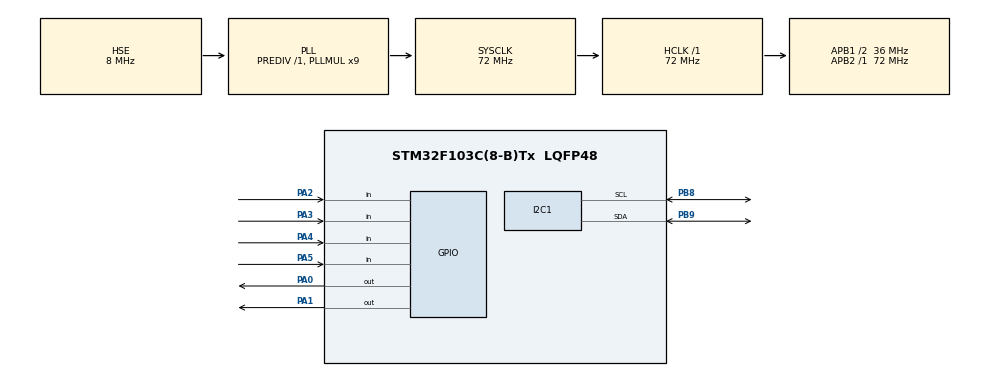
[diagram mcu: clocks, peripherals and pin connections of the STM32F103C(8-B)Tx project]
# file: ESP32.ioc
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I2C1.I2C_Mode=I2C_Fast
Mcu.Family=STM32F1
Mcu.Name=STM32F103C(8-B)Tx
Mcu.Package=LQFP48
NVIC.PriorityGroup=NVIC_PRIORITYGROUP_4
PA0-WKUP.Signal=GPIO_Output
PA1.Signal=GPIO_Output
PA13.Mode=Serial_Wire
PA13.Signal=SYS_JTMS-SWDIO
PA14.Mode=Serial_Wire
PA14.Signal=SYS_JTCK-SWCLK
PA2.Signal=GPIO_Input
PA3.Signal=GPIO_Input
PA4.Signal=GPIO_Input
PA5.Signal=GPIO_Input
PB8.Mode=I2C
PB8.Signal=I2C1_SCL
PB9.Mode=I2C
PB9.Signal=I2C1_SDA
PC14-OSC32_IN.Mode=LSE-External-Oscillator
PC14-OSC32_IN.Signal=RCC_OSC32_IN
PC15-OSC32_OUT.Mode=LSE-External-Oscillator
PC15-OSC32_OUT.Signal=RCC_OSC32_OUT
PD0-OSC_IN.Mode=HSE-External-Oscillator
PD0-OSC_IN.Signal=RCC_OSC_IN
PD1-OSC_OUT.Mode=HSE-External-Oscillator
PD1-OSC_OUT.Signal=RCC_OSC_OUT
ProjectManager.HeapSize=0x200
ProjectManager.StackSize=0x400
ProjectManager.TargetToolchain=STM32CubeIDE
RCC.AHBFreq_Value=72000000
RCC.APB1CLKDivider=RCC_HCLK_DIV2
RCC.APB1Freq_Value=36000000
RCC.APB1TimFreq_Value=72000000
RCC.APB2Freq_Value=72000000
RCC.APB2TimFreq_Value=72000000
RCC.HCLKFreq_Value=72000000
RCC.PLLMUL=RCC_PLL_MUL9
RCC.PLLSourceVirtual=RCC_PLLSOURCE_HSE
RCC.SYSCLKFreq_VALUE=72000000
RCC.SYSCLKSource=RCC_SYSCLKSOURCE_PLLCLK
RCC.USBFreq_Value=72000000
board=custom

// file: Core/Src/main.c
/* USER CODE BEGIN Header */
/**
  ******************************************************************************
  * @file           : main.c
  * @brief          : Main program body
  ******************************************************************************
  * @attention
  *
  * Copyright (c) 2024 STMicroelectronics.
  * All rights reserved.
  *
  * This software is licensed under terms that can be found in the LICENSE file
  * in the root directory of this software component.
  * If no LICENSE file comes with this software, it is provided AS-IS.
  *
  ******************************************************************************
  */
/* USER CODE END Header */
#include "main.h"

/* USER CODE BEGIN Includes */
#include "fonts.h"
#include "ssd1306.h"
/* USER CODE END Includes */

/* USER CODE BEGIN PM */
uint8_t step=0,tien,lui,AutoMode;

/* USER CODE END PM */

I2C_HandleTypeDef hi2c1;

void SystemClock_Config(void);
static void MX_GPIO_Init(void);
static void MX_I2C1_Init(void);

/* USER CODE BEGIN 0 */
uint8_t debounce(GPIO_TypeDef* GPIOx, uint16_t GPIO_Pin)
{
	    if (HAL_GPIO_ReadPin(GPIOx, GPIO_Pin) == 1)
	    {
	    	HAL_Delay(50);
	        if (HAL_GPIO_ReadPin(GPIOx, GPIO_Pin) == 1)
	        {
	            return 1;
	        }
	    }
	    return 0;
}

/* USER CODE END 0 */

int main(void)
{

  /* MCU Configuration--------------------------------------------------------*/

  /* Reset of all peripherals, Initializes the Flash interface and the Systick. */
  HAL_Init();

  /* Configure the system clock */
  SystemClock_Config();

  /* Initialize all configured peripherals */
  MX_GPIO_Init();
  MX_I2C1_Init();
  /* USER CODE BEGIN 2 */
  ssd1306_Init(&hi2c1);
  ssd1306_Fill(White);
  ssd1306_UpdateScreen(&hi2c1);
  /* USER CODE END 2 */

  /* Infinite loop */
	while (1) {

		/* USER CODE BEGIN 3 */
		ssd1306_SetCursor(0, 0);
		ssd1306_WriteString("STEP:", Font_11x18, White);
		ssd1306_UpdateScreen(&hi2c1);
		if(debounce(GPIOA, GPIO_PIN_2) == 1)
		{
			ssd1306_Fill(White);
			step = step + 50 ;
			if(step > 200)
			{
				step = 0;
			}
			if (step == 0) {
				ssd1306_SetCursor(60, 0);
				ssd1306_WriteString("Stop", Font_11x18, White);
				ssd1306_UpdateScreen(&hi2c1);
			}
			else if (step == 50) {
				ssd1306_SetCursor(60, 0);
				ssd1306_WriteString("1/4", Font_11x18, White);
				ssd1306_UpdateScreen(&hi2c1);
			}
			else if (step == 100) {
				ssd1306_SetCursor(60, 0);
				ssd1306_WriteString("1/2", Font_11x18, White);
				ssd1306_UpdateScreen(&hi2c1);
			}
			else if (step == 150) {
				ssd1306_SetCursor(60, 0);
				ssd1306_WriteString("3/4", Font_11x18, White);
				ssd1306_UpdateScreen(&hi2c1);
			}
			else if (step == 200) {
				ssd1306_SetCursor(60, 0);
				ssd1306_WriteString("FULL", Font_11x18, White);
				ssd1306_UpdateScreen(&hi2c1);
			}
		}
		if(debounce(GPIOA, GPIO_PIN_3) == 1)
		{
		for (int i = 0; i < step; i++) {
				HAL_GPIO_WritePin(GPIOA, GPIO_PIN_1, 1);
				HAL_GPIO_WritePin(GPIOA, GPIO_PIN_0, 0);
				HAL_Delay(1);
				HAL_GPIO_WritePin(GPIOA, GPIO_PIN_0, 1);
				HAL_Delay(1);
			}
		HAL_Delay(1000);
		}
		if(debounce(GPIOA, GPIO_PIN_4) == 1)
		{
			for (int i = 0; i < step; i++) {
				HAL_GPIO_WritePin(GPIOA, GPIO_PIN_1, 0);
				HAL_GPIO_WritePin(GPIOA, GPIO_PIN_0, 0);
				HAL_Delay(1);
				HAL_GPIO_WritePin(GPIOA, GPIO_PIN_0, 1);
				HAL_Delay(1);
			}
		HAL_Delay(1000);
		}

		if (debounce(GPIOA, GPIO_PIN_5) == 1)
		{
			ssd1306_SetCursor(0, 40);
			ssd1306_WriteString("AUTO MODE", Font_11x18, White);
			ssd1306_UpdateScreen(&hi2c1);
			for (int i = 0; i < step; i++) {
				HAL_GPIO_WritePin(GPIOA, GPIO_PIN_1, 1);
				HAL_GPIO_WritePin(GPIOA, GPIO_PIN_0, 0);
				HAL_Delay(1);
				HAL_GPIO_WritePin(GPIOA, GPIO_PIN_0, 1);
				HAL_Delay(1);
			}
			for (int i = 0; i < step; i++) {
				HAL_GPIO_WritePin(GPIOA, GPIO_PIN_1, 0);
				HAL_GPIO_WritePin(GPIOA, GPIO_PIN_0, 0);
				HAL_Delay(1);
				HAL_GPIO_WritePin(GPIOA, GPIO_PIN_0, 1);
				HAL_Delay(1);
			}
		}
		else {
			ssd1306_SetCursor(0, 40);
			ssd1306_WriteString("         ", Font_11x18, White);
			ssd1306_UpdateScreen(&hi2c1);
		}
		/* USER CODE END 3 */
	}
}

void SystemClock_Config(void)
{
  RCC_OscInitTypeDef RCC_OscInitStruct = {0};
  RCC_ClkInitTypeDef RCC_ClkInitStruct = {0};

  /** Initializes the RCC Oscillators according to the specified parameters
  * in the RCC_OscInitTypeDef structure.
  */
  RCC_OscInitStruct.OscillatorType = RCC_OSCILLATORTYPE_HSE;
  RCC_OscInitStruct.HSEState = RCC_HSE_ON;
  RCC_OscInitStruct.HSEPredivValue = RCC_HSE_PREDIV_DIV1;
  RCC_OscInitStruct.HSIState = RCC_HSI_ON;
  RCC_OscInitStruct.PLL.PLLState = RCC_PLL_ON;
  RCC_OscInitStruct.PLL.PLLSource = RCC_PLLSOURCE_HSE;
  RCC_OscInitStruct.PLL.PLLMUL = RCC_PLL_MUL9;
  if (HAL_RCC_OscConfig(&RCC_OscInitStruct) != HAL_OK)
  {
    Error_Handler();
  }

  /** Initializes the CPU, AHB and APB buses clocks
  */
  RCC_ClkInitStruct.ClockType = RCC_CLOCKTYPE_HCLK|RCC_CLOCKTYPE_SYSCLK
                              |RCC_CLOCKTYPE_PCLK1|RCC_CLOCKTYPE_PCLK2;
  RCC_ClkInitStruct.SYSCLKSource = RCC_SYSCLKSOURCE_PLLCLK;
  RCC_ClkInitStruct.AHBCLKDivider = RCC_SYSCLK_DIV1;
  RCC_ClkInitStruct.APB1CLKDivider = RCC_HCLK_DIV2;
  RCC_ClkInitStruct.APB2CLKDivider = RCC_HCLK_DIV1;

  if (HAL_RCC_ClockConfig(&RCC_ClkInitStruct, FLASH_LATENCY_2) != HAL_OK)
  {
    Error_Handler();
  }
}

static void MX_I2C1_Init(void)
{

  hi2c1.Instance = I2C1;
  hi2c1.Init.ClockSpeed = 400000;
  hi2c1.Init.DutyCycle = I2C_DUTYCYCLE_2;
  hi2c1.Init.OwnAddress1 = 0;
  hi2c1.Init.AddressingMode = I2C_ADDRESSINGMODE_7BIT;
  hi2c1.Init.DualAddressMode = I2C_DUALADDRESS_DISABLE;
  hi2c1.Init.OwnAddress2 = 0;
  hi2c1.Init.GeneralCallMode = I2C_GENERALCALL_DISABLE;
  hi2c1.Init.NoStretchMode = I2C_NOSTRETCH_DISABLE;
  if (HAL_I2C_Init(&hi2c1) != HAL_OK)
  {
    Error_Handler();
  }

}

static void MX_GPIO_Init(void)
{
  GPIO_InitTypeDef GPIO_InitStruct = {0};

  /* GPIO Ports Clock Enable */
  __HAL_RCC_GPIOC_CLK_ENABLE();
  __HAL_RCC_GPIOD_CLK_ENABLE();
  __HAL_RCC_GPIOA_CLK_ENABLE();
  __HAL_RCC_GPIOB_CLK_ENABLE();

  /*Configure GPIO pin Output Level */
  HAL_GPIO_WritePin(GPIOA, GPIO_PIN_0|GPIO_PIN_1, GPIO_PIN_RESET);

  /*Configure GPIO pins : PA0 PA1 */
  GPIO_InitStruct.Pin = GPIO_PIN_0|GPIO_PIN_1;
  GPIO_InitStruct.Mode = GPIO_MODE_OUTPUT_PP;
  GPIO_InitStruct.Pull = GPIO_NOPULL;
  GPIO_InitStruct.Speed = GPIO_SPEED_FREQ_LOW;
  HAL_GPIO_Init(GPIOA, &GPIO_InitStruct);

  /*Configure GPIO pins : PA2 PA3 PA4 PA5 */
  GPIO_InitStruct.Pin = GPIO_PIN_2|GPIO_PIN_3|GPIO_PIN_4|GPIO_PIN_5;
  GPIO_InitStruct.Mode = GPIO_MODE_INPUT;
  GPIO_InitStruct.Pull = GPIO_NOPULL;
  HAL_GPIO_Init(GPIOA, &GPIO_InitStruct);

}

void Error_Handler(void)
{
  __disable_irq();
  while (1)
  {
  }
}
